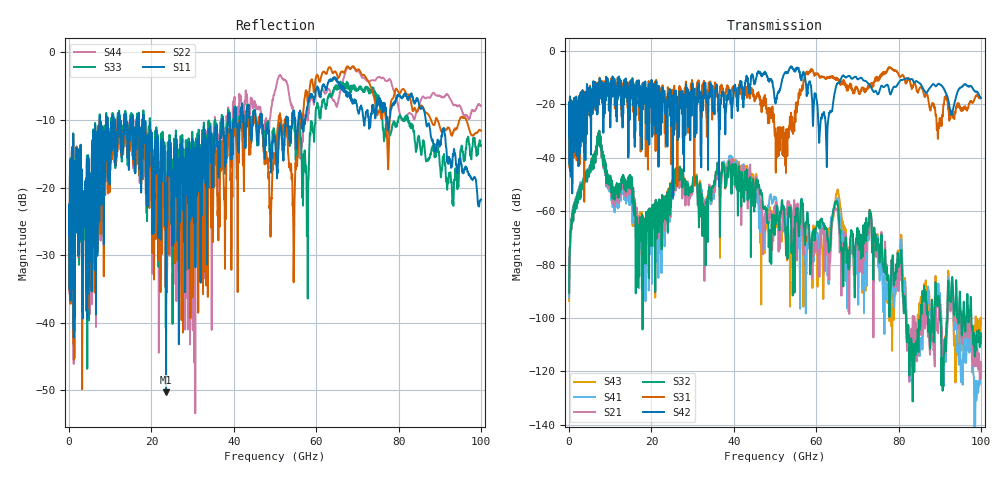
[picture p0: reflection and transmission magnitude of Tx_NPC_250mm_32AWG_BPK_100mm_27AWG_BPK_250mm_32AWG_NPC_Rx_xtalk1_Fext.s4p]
! Info: Touchstone file created by Circ.  Input file=Tx_NPC_250mm_32AWG_BPK_100mm_27AWG_BPK_250mm_32AWG_NPC_Rx.circ
# Hz S RI R 50
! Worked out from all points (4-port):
!   10000 points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, 10 MHz to 100 GHz, reference 50 ohm
!   strongest paths, dB at 10 MHz, 25.01 GHz, 50.01 GHz, 75.01 GHz, 100 GHz:
!     S42: -32.0, -21.9, -18.4, -16.3, -17.6
!     S31: -31.8, -24.4, -30.2, -10.3, -17.5
!     S32: -90.5, -49.5, -62.5, -70.9, -109.5
!     S21: -90.6, -50.0, -60.0, -72.6, -122.7
!     S41: -92.5, -50.6, -55.5, -73.7, -118.2
!     S43: -93.7, -49.3, -59.9, -72.8, -102.5
!   lowest |S11| = -50.3 dB at 23.56 GHz (marker M1), VSWR 1.01, Z = 49.8 + j0.258 ohm
!   |S11| at or under -10 dB: start of sweep to 7.423 GHz; 18.1 GHz to 37.07 GHz (18.97 GHz wide, 68.8 % of centre); 86.59 GHz to end of sweep (the widest 3 of 45)
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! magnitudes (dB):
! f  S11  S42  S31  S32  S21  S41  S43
! 10 MHz  -26.9  -32.0  -31.8  -90.5  -90.6  -92.5  -93.7
! 7.24 GHz  -18.4  -20.0  -18.8  -30.4  -30.5  -30.5  -30.3
! 23.56 GHz  -50.3  -26.1  -25.2  -57.7  -59.6  -59.8  -56.6
! 39.3 GHz  -11.6  -17.6  -16.6  -44.9  -41.2  -39.3  -41.9
! 52.56 GHz  -10.9  -8.2  -43.0  -67.2  -59.5  -67.6  -68.9
! 57.58 GHz  -9.5  -13.1  -7.9  -64.0  -65.2  -82.8  -71.9
! 100 GHz  -21.8  -17.6  -17.5  -109.5  -122.7  -118.2  -102.5
